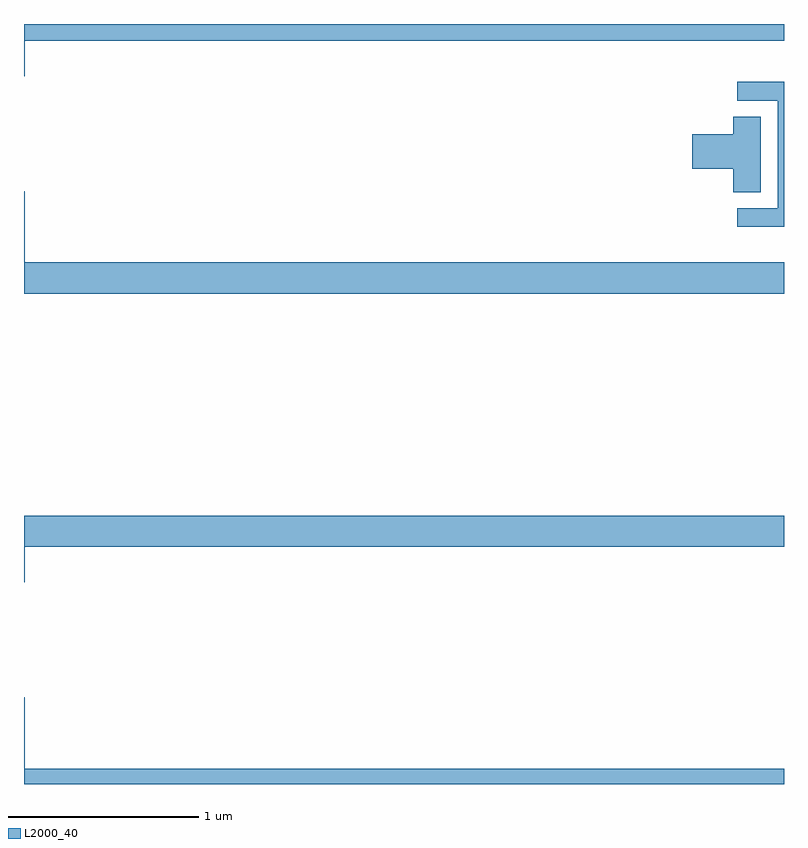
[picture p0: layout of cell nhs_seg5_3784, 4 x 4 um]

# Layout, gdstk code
import gdstk
lib = gdstk.Library(unit=1e-6, precision=1e-09)
def P(c, l, *ps):  # polygons
    for p in ps: c.add(gdstk.Polygon(p, *l))
L2000_40 = (2000, 40)

nhs_seg5_3784 = lib.new_cell('nhs_seg5_3784')
P(nhs_seg5_3784, L2000_40, [(333.004,904.712),(337,904.712),(337,904.799),(333,904.799),(333,904.524),(333.004,904.524)],
  [(337,904.494),(336.753,904.494),(336.753,904.395),(336.966,904.395),(336.966,903.828),(336.753,903.828),(336.753,903.732),(337,903.732)],
  [(336.877,904.31),(336.734,904.31),(336.734,904.22),(336.516,904.22),(336.516,904.037),(336.734,904.037),(336.734,903.913),(336.877,903.913)],
  [(337,903.544),(333.004,903.544),(333.004,903.919),(333,903.919),(333,903.38),(337,903.38)],
  [(333.004,902.048),(337,902.048),(337,902.212),(333,902.212),(333,901.86),(333.004,901.86)],
  [(333.004,901.255),(333,901.255),(333,900.799),(337,900.799),(337,900.88),(333.004,900.88)])

lib.write_gds('nhs_seg5_3784.gds')
